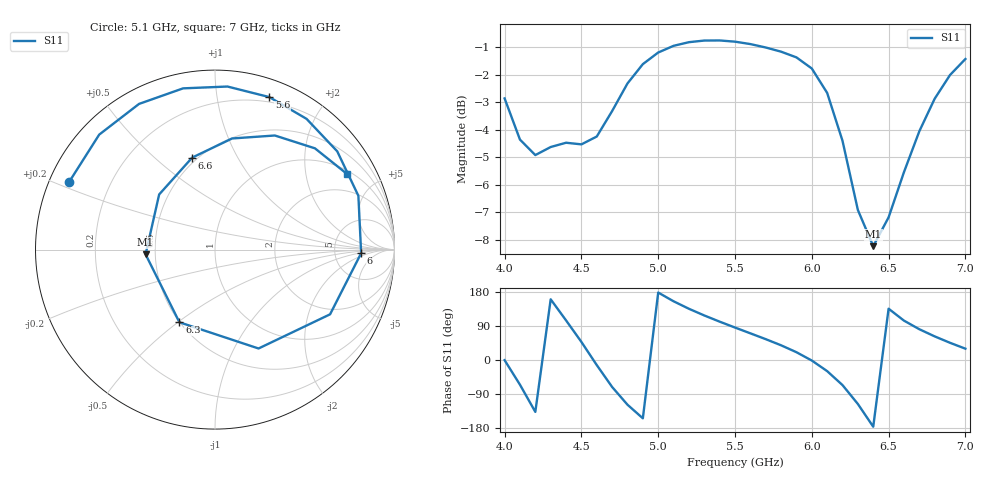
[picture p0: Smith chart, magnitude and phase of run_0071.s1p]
! Touchstone file exported from HFSS 2024.2.0
!  File:  C:/Users/wsak9/Desktop/Sim Fast/Widenad Patch/WP_AI_V1_sweep.aedt
!  Generated:  05:56:19 PM Oct 13, 2026
!  Design:  A1_model
!  Project:  WP_AI_V1_sweep
!  Setup:  Setup1
!  Solution:  Sweep
! Variables:
!  Air_gap = 2.74mm
!  Curve_Amp1 = 3.17
!  Curve_len1 = 1
!  Curve_pos = 13.125mm
!  Extra = 3.25mm
!  H_sub = 0.79mm
!  L_Patch = 22.25mm
!  L_Patch1 = 15.9mm
!  Sx = 4.46mm
!  Sy = 3.14mm
!  WS = 1.02mm
!  W_Patch = 15.18mm
!  W_Patch1 = 12.65mm
!Data is not renormalized
# GHz S MA
! Terminal data exported
! Port[1] = 1
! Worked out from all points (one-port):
!   31 points, 4 GHz to 7 GHz, reference per port
!   lowest |S11| = -8.2 dB at 6.4 GHz (marker M1), VSWR 2.27
!   |S11| at or under -10 dB: nowhere
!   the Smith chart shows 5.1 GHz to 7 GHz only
!   S11 on the Smith chart (normalised r, x): 5.1 GHz: 0.06, +0.22; 5.6 GHz: 0.15, +1.41; 6 GHz: 9.65, -1.14; 6.3 GHz: 0.50, -0.51; 6.6 GHz: 0.47, +0.67; 7 GHz: 1.14, +3.40
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4  0.7188 -0.4
4.1  0.6051 -65.2
4.2  0.5672 -137.0
4.3  0.5866 160.2
4.4  0.5972 104.5
4.5  0.5932 47.7
4.6  0.6129 -13.4
4.7  0.6818 -71.2
4.8  0.7652 -118.0
4.9  0.8295 -153.9
5  0.8708 178.0
5.1  0.8955 155.0
5.2  0.9092 135.2
5.3  0.9154 117.5
5.5  0.9112 85.6
5.6  0.902 70.4
5.8  0.8739 38.8
5.9  0.8532 20.6
6  0.8146 -1.4
6.1  0.7355 -29.4
6.2  0.602 -66.2
6.3  0.4509 -116.1
6.4  0.3876 -176.1
6.5  0.4372 135.4
6.6  0.5281 103.9
6.7  0.6265 81.2
6.8  0.7179 62.3
7  0.8475 29.9
